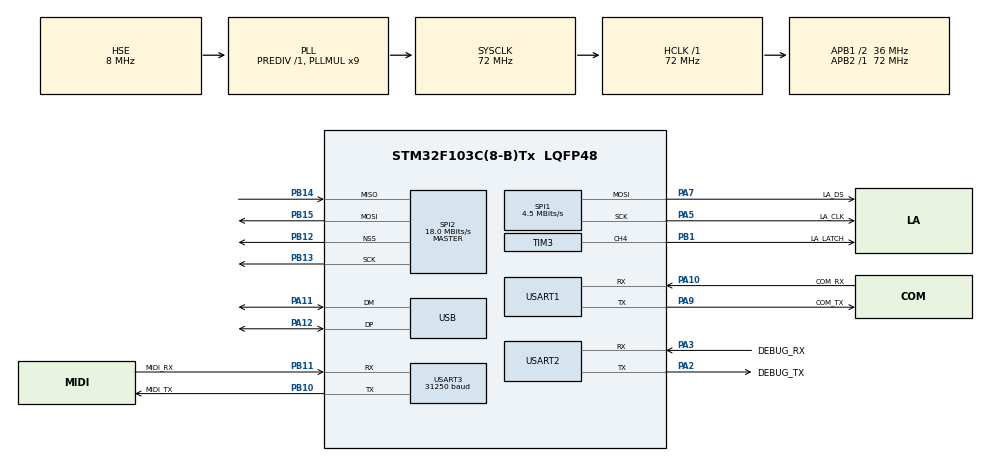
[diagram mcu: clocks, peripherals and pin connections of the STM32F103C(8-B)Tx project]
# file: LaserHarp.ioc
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Dma.Request0=TIM3_CH4/UP
Dma.TIM3_CH4/UP.0.Direction=DMA_MEMORY_TO_PERIPH
Dma.TIM3_CH4/UP.0.Instance=DMA1_Channel3
Dma.TIM3_CH4/UP.0.MemDataAlignment=DMA_MDATAALIGN_HALFWORD
Dma.TIM3_CH4/UP.0.MemInc=DMA_MINC_ENABLE
Dma.TIM3_CH4/UP.0.Mode=DMA_CIRCULAR
Dma.TIM3_CH4/UP.0.PeriphDataAlignment=DMA_PDATAALIGN_HALFWORD
Dma.TIM3_CH4/UP.0.PeriphInc=DMA_PINC_DISABLE
Dma.TIM3_CH4/UP.0.Priority=DMA_PRIORITY_HIGH
Mcu.Family=STM32F1
Mcu.Name=STM32F103C(8-B)Tx
Mcu.Package=LQFP48
Mcu.UserConstants=LA_TRANSFER_PRESCALAR,16;LA_FADE_TICK_RATE,30;LOG_UART_HANDLE,huart2
NVIC.DMA1_Channel3_IRQn=true\:0\:0\:false\:false\:true\:false\:true\:true
NVIC.PriorityGroup=NVIC_PRIORITYGROUP_4
NVIC.TIM2_IRQn=true\:0\:0\:false\:false\:true\:true\:true\:true
NVIC.USART1_IRQn=true\:0\:0\:false\:false\:true\:true\:true\:true
NVIC.USART3_IRQn=true\:0\:0\:true\:false\:true\:true\:true\:true
NVIC.USB_LP_CAN1_RX0_IRQn=true\:0\:0\:true\:false\:true\:false\:true\:true
PA10.GPIO_Label=COM_RX
PA10.Mode=Asynchronous
PA10.Signal=USART1_RX
PA11.Mode=Device
PA11.Signal=USB_DM
PA12.Mode=Device
PA12.Signal=USB_DP
PA13.GPIO_Label=SWDIO
PA13.Mode=Serial_Wire
PA13.Signal=SYS_JTMS-SWDIO
PA14.GPIO_Label=SWCLK
PA14.Mode=Serial_Wire
PA14.Signal=SYS_JTCK-SWCLK
PA2.GPIO_Label=DEBUG_TX
PA2.Mode=Asynchronous
PA2.Signal=USART2_TX
PA3.GPIO_Label=DEBUG_RX
PA3.Mode=Asynchronous
PA3.Signal=USART2_RX
PA5.GPIO_Label=LA_CLK
PA5.Mode=TX_Only_Simplex_Unidirect_Master
PA5.Signal=SPI1_SCK
PA7.GPIO_Label=LA_DS
PA7.Mode=TX_Only_Simplex_Unidirect_Master
PA7.Signal=SPI1_MOSI
PA9.GPIO_Label=COM_TX
PA9.Mode=Asynchronous
PA9.Signal=USART1_TX
PB1.GPIO_Label=LA_LATCH
PB1.Signal=S_TIM3_CH4
PB10.GPIO_Label=MIDI_TX
PB10.Mode=Asynchronous
PB10.Signal=USART3_TX
PB11.GPIO_Label=MIDI_RX
PB11.Mode=Asynchronous
PB11.Signal=USART3_RX
PB12.Mode=NSS_Signal_Hard_Output
PB12.Signal=SPI2_NSS
PB13.Mode=Full_Duplex_Master
PB13.Signal=SPI2_SCK
PB14.Mode=Full_Duplex_Master
PB14.Signal=SPI2_MISO
PB15.Mode=Full_Duplex_Master
PB15.Signal=SPI2_MOSI
PD0-OSC_IN.Mode=HSE-External-Oscillator
PD0-OSC_IN.Signal=RCC_OSC_IN
PD1-OSC_OUT.Mode=HSE-External-Oscillator
PD1-OSC_OUT.Signal=RCC_OSC_OUT
ProjectManager.HeapSize=0x200
ProjectManager.StackSize=0x400
ProjectManager.TargetToolchain=STM32CubeIDE
RCC.AHBFreq_Value=72000000
RCC.APB1CLKDivider=RCC_HCLK_DIV2
RCC.APB1Freq_Value=36000000
RCC.APB1TimFreq_Value=72000000
RCC.APB2Freq_Value=72000000
RCC.APB2TimFreq_Value=72000000
RCC.HCLKFreq_Value=72000000
RCC.PLLMUL=RCC_PLL_MUL9
RCC.PLLSourceVirtual=RCC_PLLSOURCE_HSE
RCC.SYSCLKFreq_VALUE=72000000
RCC.SYSCLKSource=RCC_SYSCLKSOURCE_PLLCLK
RCC.USBFreq_Value=48000000
RCC.USBPrescaler=RCC_USBCLKSOURCE_PLL_DIV1_5
SH.S_TIM3_CH4.0=TIM3_CH4,Output Compare4 CH4
SPI1.BaudRatePrescaler=SPI_BAUDRATEPRESCALER_16
SPI1.CalculateBaudRate=4.5 MBits/s
SPI1.DataSize=SPI_DATASIZE_16BIT
SPI1.Direction=SPI_DIRECTION_2LINES
SPI1.FirstBit=SPI_FIRSTBIT_LSB
SPI1.Mode=SPI_MODE_MASTER
SPI1.VirtualType=VM_MASTER
SPI2.CalculateBaudRate=18.0 MBits/s
SPI2.Direction=SPI_DIRECTION_2LINES
SPI2.Mode=SPI_MODE_MASTER
SPI2.VirtualNSS=VM_NSSHARD
SPI2.VirtualType=VM_MASTER
TIM2.Period=(10000 / LA_FADE_TICK_RATE) - 1
TIM2.Prescaler=7200 - 1
TIM3.Channel-Output\ Compare4\ CH4=TIM_CHANNEL_4
TIM3.OCMode_4=TIM_OCMODE_TOGGLE
TIM3.OCPolarity_4=TIM_OCPOLARITY_LOW
TIM3.Period=18 - 1
TIM3.Prescaler=LA_TRANSFER_PRESCALAR - 1
TIM3.Pulse-Output\ Compare4\ CH4=0
TIM3.TIM_MasterOutputTrigger=TIM_TRGO_UPDATE
USART1.VirtualMode=VM_ASYNC
USART2.VirtualMode=VM_ASYNC
USART3.BaudRate=31250
USART3.Parity=PARITY_NONE
USART3.VirtualMode=VM_ASYNC
USB_DEVICE.CLASS_NAME_FS=HID
USB_DEVICE.CONFIGURATION_STRING_HID_FS=MIDI Config
USB_DEVICE.INTERFACE_STRING_HID_FS=MIDI Interface
USB_DEVICE.MANUFACTURER_STRING=Schlegel Flegel
USB_DEVICE.PID_HID_FS=0xC0B0
USB_DEVICE.PRODUCT_STRING_HID_FS=Laser Harp
USB_DEVICE.VID=0x1209
USB_DEVICE.VirtualMode=Hid
USB_DEVICE.VirtualModeFS=Hid_FS
VP_TIM2_VS_ClockSourceINT.Mode=Internal
VP_TIM3_VS_ClockSourceINT.Mode=Internal
VP_USB_DEVICE_VS_USB_DEVICE_HID_FS.Mode=HID_FS
board=custom

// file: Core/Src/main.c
/* USER CODE BEGIN Header */
/**
  ******************************************************************************
  * @file           : main.c
  * @brief          : Main program body
  ******************************************************************************
  * @attention
  *
  * Copyright (c) 2023 STMicroelectronics.
  * All rights reserved.
  *
  * This software is licensed under terms that can be found in the LICENSE file
  * in the root directory of this software component.
  * If no LICENSE file comes with this software, it is provided AS-IS.
  *
  ******************************************************************************
  */
/* USER CODE END Header */
#include "main.h"
#include "usb_device.h"

/* USER CODE BEGIN Includes */
#include "stdlib.h"
#include "logging.h"

#include "midi.h"
#include "laser_array.h"
#include "commander.h"
/* USER CODE END Includes */

SPI_HandleTypeDef hspi1;
SPI_HandleTypeDef hspi2;

TIM_HandleTypeDef htim2;
TIM_HandleTypeDef htim3;
DMA_HandleTypeDef hdma_tim3_ch4_up;

UART_HandleTypeDef huart1;
UART_HandleTypeDef huart2;
UART_HandleTypeDef huart3;

/* USER CODE BEGIN PV */
extern USBD_HandleTypeDef hUsbDeviceFS;

Midi_t midi;
LaserArray_t la;
Commander_t com;
/* USER CODE END PV */

void SystemClock_Config(void);
static void MX_GPIO_Init(void);
static void MX_DMA_Init(void);
static void MX_TIM3_Init(void);
static void MX_SPI1_Init(void);
static void MX_TIM2_Init(void);
static void MX_USART2_UART_Init(void);
static void MX_USART1_UART_Init(void);
static void MX_USART3_UART_Init(void);
static void MX_SPI2_Init(void);

/* USER CODE BEGIN 0 */

// use huart2 for the printf by defining the putchar prototype
#ifdef __GNUC__
    #define PUTCHAR_PROTOTYPE int __io_putchar(int ch)
#else
    #define PUTCHAR_PROTOTYPE int fputc(int ch, FILE *f)
#endif
PUTCHAR_PROTOTYPE {
    if (ch == '\n') {
        uint8_t cr = '\r';
        HAL_UART_Transmit(&huart2, &cr, 1, HAL_MAX_DELAY);
    }
    HAL_UART_Transmit(&huart2, (uint8_t*) &ch, 1, HAL_MAX_DELAY);
    return ch;
}

void HAL_UARTEx_RxEventCallback(UART_HandleTypeDef *huart, uint16_t Size) {
    // invoke all uart event handlers
    Commander_UARTEx_RxEventHandler(&com, huart, Size);
    DinMidi_UARTEx_RxEventHandler(&midi.din, huart, Size);
}

void USBD_MIDI_DataInHandler(uint8_t *usb_rx_buffer, uint8_t usb_rx_buffer_length) {
    // invoke the usb data in handler
    UsbMidi_DataInHandler(&midi.usb, usb_rx_buffer, usb_rx_buffer_length);
}

ret_t Commander_ReceiveCallback(Commander_t *com, uint8_t *message, uint16_t length) {
    // add the packet as an event
    LOG_INFO("Commander Received");

    return RET_OK;
}

ret_t Midi_ReceiveCallback(Midi_t *midi, uint8_t *message, uint16_t length) {
    // forward to commander
    //Commander_Transmit(&com, message, length);
    LOG_INFO("Midi In!");

    return RET_OK;
}

/* USER CODE END 0 */

int main(void)
{

  /* MCU Configuration--------------------------------------------------------*/

  /* Reset of all peripherals, Initializes the Flash interface and the Systick. */
  HAL_Init();

  /* Configure the system clock */
  SystemClock_Config();

  /* Initialize all configured peripherals */
  MX_GPIO_Init();
  MX_DMA_Init();
  MX_TIM3_Init();
  MX_SPI1_Init();
  MX_USB_DEVICE_Init();
  MX_TIM2_Init();
  MX_USART2_UART_Init();
  MX_USART1_UART_Init();
  MX_USART3_UART_Init();
  MX_SPI2_Init();
  /* USER CODE BEGIN 2 */

  // init midi
  LOG_INFO("Initializing midi ...");
  const Midi_Config_t midi_config = {
      .usb = {
          .hUsbDeviceFS = &hUsbDeviceFS
      },
      .din = {
          .huart = &huart3
      }
  };
  HALT_ON_ERROR(Midi_Init(&midi, &midi_config),
      "Failed to initialize midi.");

  // init laser array
  LOG_INFO("Initializing laser array ...");
  const LaserArray_Config_t la_config = {
      .hspi = &hspi1,
      .htim_transfer = &htim3,
      .htim_fade = &htim2,
      .rclk_channel = TIM_CHANNEL_4
  };
  HALT_ON_ERROR(LaserArray_Init(&la, &la_config),
      "Failed to initialize laser array.");

  // init commander
  LOG_INFO("Initializing commander ...");
  const Commander_Config_t com_config = {
      .huart = &huart1
  };
  HALT_ON_ERROR(Commander_Init(&com, &com_config),
      "Failed to initialize commander.");

  LOG_INFO("Initialization complete.");

  /* USER CODE END 2 */

  /* Infinite loop */
  /* USER CODE BEGIN WHILE */
  while (1)
  {
      Commander_Update(&com);
    /* USER CODE END WHILE */

  }
}

void SystemClock_Config(void)
{
  RCC_OscInitTypeDef RCC_OscInitStruct = {0};
  RCC_ClkInitTypeDef RCC_ClkInitStruct = {0};
  RCC_PeriphCLKInitTypeDef PeriphClkInit = {0};

  /** Initializes the RCC Oscillators according to the specified parameters
  * in the RCC_OscInitTypeDef structure.
  */
  RCC_OscInitStruct.OscillatorType = RCC_OSCILLATORTYPE_HSE;
  RCC_OscInitStruct.HSEState = RCC_HSE_ON;
  RCC_OscInitStruct.HSEPredivValue = RCC_HSE_PREDIV_DIV1;
  RCC_OscInitStruct.HSIState = RCC_HSI_ON;
  RCC_OscInitStruct.PLL.PLLState = RCC_PLL_ON;
  RCC_OscInitStruct.PLL.PLLSource = RCC_PLLSOURCE_HSE;
  RCC_OscInitStruct.PLL.PLLMUL = RCC_PLL_MUL9;
  if (HAL_RCC_OscConfig(&RCC_OscInitStruct) != HAL_OK)
  {
    Error_Handler();
  }

  /** Initializes the CPU, AHB and APB buses clocks
  */
  RCC_ClkInitStruct.ClockType = RCC_CLOCKTYPE_HCLK|RCC_CLOCKTYPE_SYSCLK
                              |RCC_CLOCKTYPE_PCLK1|RCC_CLOCKTYPE_PCLK2;
  RCC_ClkInitStruct.SYSCLKSource = RCC_SYSCLKSOURCE_PLLCLK;
  RCC_ClkInitStruct.AHBCLKDivider = RCC_SYSCLK_DIV1;
  RCC_ClkInitStruct.APB1CLKDivider = RCC_HCLK_DIV2;
  RCC_ClkInitStruct.APB2CLKDivider = RCC_HCLK_DIV1;

  if (HAL_RCC_ClockConfig(&RCC_ClkInitStruct, FLASH_LATENCY_2) != HAL_OK)
  {
    Error_Handler();
  }
  PeriphClkInit.PeriphClockSelection = RCC_PERIPHCLK_USB;
  PeriphClkInit.UsbClockSelection = RCC_USBCLKSOURCE_PLL_DIV1_5;
  if (HAL_RCCEx_PeriphCLKConfig(&PeriphClkInit) != HAL_OK)
  {
    Error_Handler();
  }
}

static void MX_SPI1_Init(void)
{

  /* SPI1 parameter configuration*/
  hspi1.Instance = SPI1;
  hspi1.Init.Mode = SPI_MODE_MASTER;
  hspi1.Init.Direction = SPI_DIRECTION_2LINES;
  hspi1.Init.DataSize = SPI_DATASIZE_16BIT;
  hspi1.Init.CLKPolarity = SPI_POLARITY_LOW;
  hspi1.Init.CLKPhase = SPI_PHASE_1EDGE;
  hspi1.Init.NSS = SPI_NSS_SOFT;
  hspi1.Init.BaudRatePrescaler = SPI_BAUDRATEPRESCALER_16;
  hspi1.Init.FirstBit = SPI_FIRSTBIT_LSB;
  hspi1.Init.TIMode = SPI_TIMODE_DISABLE;
  hspi1.Init.CRCCalculation = SPI_CRCCALCULATION_DISABLE;
  hspi1.Init.CRCPolynomial = 10;
  if (HAL_SPI_Init(&hspi1) != HAL_OK)
  {
    Error_Handler();
  }

}

static void MX_SPI2_Init(void)
{

  /* SPI2 parameter configuration*/
  hspi2.Instance = SPI2;
  hspi2.Init.Mode = SPI_MODE_MASTER;
  hspi2.Init.Direction = SPI_DIRECTION_2LINES;
  hspi2.Init.DataSize = SPI_DATASIZE_8BIT;
  hspi2.Init.CLKPolarity = SPI_POLARITY_LOW;
  hspi2.Init.CLKPhase = SPI_PHASE_1EDGE;
  hspi2.Init.NSS = SPI_NSS_HARD_OUTPUT;
  hspi2.Init.BaudRatePrescaler = SPI_BAUDRATEPRESCALER_2;
  hspi2.Init.FirstBit = SPI_FIRSTBIT_MSB;
  hspi2.Init.TIMode = SPI_TIMODE_DISABLE;
  hspi2.Init.CRCCalculation = SPI_CRCCALCULATION_DISABLE;
  hspi2.Init.CRCPolynomial = 10;
  if (HAL_SPI_Init(&hspi2) != HAL_OK)
  {
    Error_Handler();
  }

}

static void MX_TIM2_Init(void)
{

  TIM_ClockConfigTypeDef sClockSourceConfig = {0};
  TIM_MasterConfigTypeDef sMasterConfig = {0};

  htim2.Instance = TIM2;
  htim2.Init.Prescaler = 7200 - 1;
  htim2.Init.CounterMode = TIM_COUNTERMODE_UP;
  htim2.Init.Period = (10000 / LA_FADE_TICK_RATE) - 1;
  htim2.Init.ClockDivision = TIM_CLOCKDIVISION_DIV1;
  htim2.Init.AutoReloadPreload = TIM_AUTORELOAD_PRELOAD_DISABLE;
  if (HAL_TIM_Base_Init(&htim2) != HAL_OK)
  {
    Error_Handler();
  }
  sClockSourceConfig.ClockSource = TIM_CLOCKSOURCE_INTERNAL;
  if (HAL_TIM_ConfigClockSource(&htim2, &sClockSourceConfig) != HAL_OK)
  {
    Error_Handler();
  }
  sMasterConfig.MasterOutputTrigger = TIM_TRGO_RESET;
  sMasterConfig.MasterSlaveMode = TIM_MASTERSLAVEMODE_DISABLE;
  if (HAL_TIMEx_MasterConfigSynchronization(&htim2, &sMasterConfig) != HAL_OK)
  {
    Error_Handler();
  }

}

static void MX_TIM3_Init(void)
{

  TIM_ClockConfigTypeDef sClockSourceConfig = {0};
  TIM_MasterConfigTypeDef sMasterConfig = {0};
  TIM_OC_InitTypeDef sConfigOC = {0};

  htim3.Instance = TIM3;
  htim3.Init.Prescaler = LA_TRANSFER_PRESCALAR - 1;
  htim3.Init.CounterMode = TIM_COUNTERMODE_UP;
  htim3.Init.Period = 18 - 1;
  htim3.Init.ClockDivision = TIM_CLOCKDIVISION_DIV1;
  htim3.Init.AutoReloadPreload = TIM_AUTORELOAD_PRELOAD_DISABLE;
  if (HAL_TIM_Base_Init(&htim3) != HAL_OK)
  {
    Error_Handler();
  }
  sClockSourceConfig.ClockSource = TIM_CLOCKSOURCE_INTERNAL;
  if (HAL_TIM_ConfigClockSource(&htim3, &sClockSourceConfig) != HAL_OK)
  {
    Error_Handler();
  }
  if (HAL_TIM_OC_Init(&htim3) != HAL_OK)
  {
    Error_Handler();
  }
  sMasterConfig.MasterOutputTrigger = TIM_TRGO_UPDATE;
  sMasterConfig.MasterSlaveMode = TIM_MASTERSLAVEMODE_DISABLE;
  if (HAL_TIMEx_MasterConfigSynchronization(&htim3, &sMasterConfig) != HAL_OK)
  {
    Error_Handler();
  }
  sConfigOC.OCMode = TIM_OCMODE_TOGGLE;
  sConfigOC.Pulse = 0;
  sConfigOC.OCPolarity = TIM_OCPOLARITY_LOW;
  sConfigOC.OCFastMode = TIM_OCFAST_DISABLE;
  if (HAL_TIM_OC_ConfigChannel(&htim3, &sConfigOC, TIM_CHANNEL_4) != HAL_OK)
  {
    Error_Handler();
  }
  HAL_TIM_MspPostInit(&htim3);

}

static void MX_USART1_UART_Init(void)
{

  huart1.Instance = USART1;
  huart1.Init.BaudRate = 115200;
  huart1.Init.WordLength = UART_WORDLENGTH_8B;
  huart1.Init.StopBits = UART_STOPBITS_1;
  huart1.Init.Parity = UART_PARITY_NONE;
  huart1.Init.Mode = UART_MODE_TX_RX;
  huart1.Init.HwFlowCtl = UART_HWCONTROL_NONE;
  huart1.Init.OverSampling = UART_OVERSAMPLING_16;
  if (HAL_UART_Init(&huart1) != HAL_OK)
  {
    Error_Handler();
  }

}

static void MX_USART2_UART_Init(void)
{

  huart2.Instance = USART2;
  huart2.Init.BaudRate = 115200;
  huart2.Init.WordLength = UART_WORDLENGTH_8B;
  huart2.Init.StopBits = UART_STOPBITS_1;
  huart2.Init.Parity = UART_PARITY_NONE;
  huart2.Init.Mode = UART_MODE_TX_RX;
  huart2.Init.HwFlowCtl = UART_HWCONTROL_NONE;
  huart2.Init.OverSampling = UART_OVERSAMPLING_16;
  if (HAL_UART_Init(&huart2) != HAL_OK)
  {
    Error_Handler();
  }

}

static void MX_USART3_UART_Init(void)
{

  huart3.Instance = USART3;
  huart3.Init.BaudRate = 31250;
  huart3.Init.WordLength = UART_WORDLENGTH_8B;
  huart3.Init.StopBits = UART_STOPBITS_1;
  huart3.Init.Parity = UART_PARITY_NONE;
  huart3.Init.Mode = UART_MODE_TX_RX;
  huart3.Init.HwFlowCtl = UART_HWCONTROL_NONE;
  huart3.Init.OverSampling = UART_OVERSAMPLING_16;
  if (HAL_UART_Init(&huart3) != HAL_OK)
  {
    Error_Handler();
  }

}

static void MX_DMA_Init(void)
{

  /* DMA controller clock enable */
  __HAL_RCC_DMA1_CLK_ENABLE();

  /* DMA interrupt init */
  /* DMA1_Channel3_IRQn interrupt configuration */
  HAL_NVIC_SetPriority(DMA1_Channel3_IRQn, 0, 0);
  HAL_NVIC_EnableIRQ(DMA1_Channel3_IRQn);

}

static void MX_GPIO_Init(void)
{

  /* GPIO Ports Clock Enable */
  __HAL_RCC_GPIOD_CLK_ENABLE();
  __HAL_RCC_GPIOA_CLK_ENABLE();
  __HAL_RCC_GPIOB_CLK_ENABLE();

}

void Error_Handler(void)
{
  __disable_irq();
  while (1)
  {
  }
}
